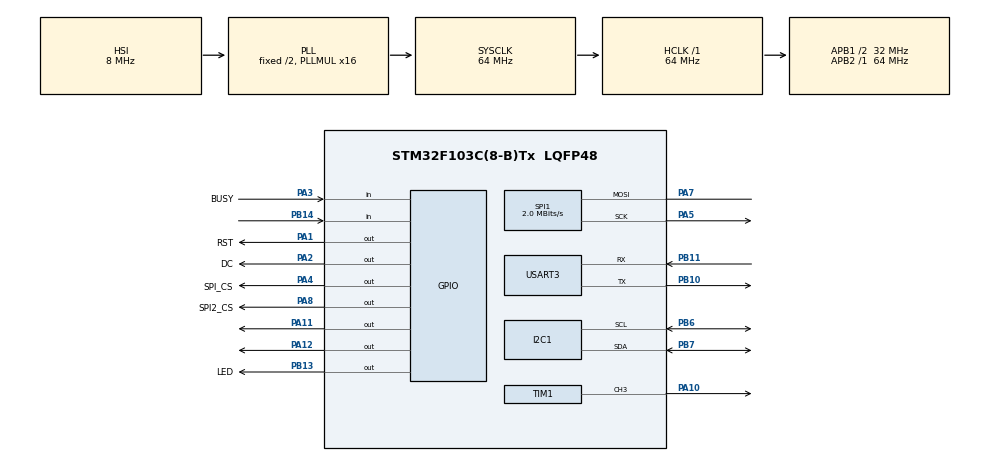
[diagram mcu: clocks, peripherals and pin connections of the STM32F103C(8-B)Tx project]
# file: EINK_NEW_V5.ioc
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Dma.Request0=SPI1_TX
Dma.SPI1_TX.0.Direction=DMA_MEMORY_TO_PERIPH
Dma.SPI1_TX.0.Instance=DMA1_Channel3
Dma.SPI1_TX.0.MemDataAlignment=DMA_MDATAALIGN_BYTE
Dma.SPI1_TX.0.MemInc=DMA_MINC_ENABLE
Dma.SPI1_TX.0.Mode=DMA_NORMAL
Dma.SPI1_TX.0.PeriphDataAlignment=DMA_PDATAALIGN_BYTE
Dma.SPI1_TX.0.PeriphInc=DMA_PINC_DISABLE
Dma.SPI1_TX.0.Priority=DMA_PRIORITY_LOW
Mcu.Family=STM32F1
Mcu.Name=STM32F103C(8-B)Tx
Mcu.Package=LQFP48
NVIC.DMA1_Channel3_IRQn=true\:0\:0\:false\:false\:true\:false\:true\:true
NVIC.PriorityGroup=NVIC_PRIORITYGROUP_4
PA1.GPIO_Label=RST
PA1.Signal=GPIO_Output
PA10.Signal=S_TIM1_CH3
PA11.Signal=GPIO_Output
PA12.Signal=GPIO_Output
PA13.Mode=Serial_Wire
PA13.Signal=SYS_JTMS-SWDIO
PA14.Mode=Serial_Wire
PA14.Signal=SYS_JTCK-SWCLK
PA2.GPIO_Label=DC
PA2.Signal=GPIO_Output
PA3.GPIO_Label=BUSY
PA3.Signal=GPIO_Input
PA4.GPIO_Label=SPI_CS
PA4.Signal=GPIO_Output
PA5.Mode=Simplex_Bidirectional_Master
PA5.Signal=SPI1_SCK
PA7.Mode=Simplex_Bidirectional_Master
PA7.Signal=SPI1_MOSI
PA8.GPIO_Label=SPI2_CS
PA8.Signal=GPIO_Output
PB10.Mode=Asynchronous
PB10.Signal=USART3_TX
PB11.Mode=Asynchronous
PB11.Signal=USART3_RX
PB13.GPIO_Label=LED
PB13.GPIO_PuPd=GPIO_PULLDOWN
PB13.PinState=GPIO_PIN_SET
PB13.Signal=GPIO_Output
PB14.GPIO_PuPd=GPIO_PULLDOWN
PB14.Signal=GPIO_Input
PB6.Mode=I2C
PB6.Signal=I2C1_SCL
PB7.Mode=I2C
PB7.Signal=I2C1_SDA
ProjectManager.HeapSize=0x200
ProjectManager.StackSize=0x400
ProjectManager.TargetToolchain=STM32CubeIDE
RCC.AHBFreq_Value=64000000
RCC.APB1CLKDivider=RCC_HCLK_DIV2
RCC.APB1Freq_Value=32000000
RCC.APB1TimFreq_Value=64000000
RCC.APB2Freq_Value=64000000
RCC.APB2TimFreq_Value=64000000
RCC.HCLKFreq_Value=64000000
RCC.PLLMUL=RCC_PLL_MUL16
RCC.SYSCLKFreq_VALUE=64000000
RCC.SYSCLKSource=RCC_SYSCLKSOURCE_PLLCLK
RCC.USBFreq_Value=64000000
SH.S_TIM1_CH3.0=TIM1_CH3,PWM Generation3 CH3
SPI1.BaudRatePrescaler=SPI_BAUDRATEPRESCALER_32
SPI1.CalculateBaudRate=2.0 MBits/s
SPI1.Direction=SPI_DIRECTION_1LINE
SPI1.Mode=SPI_MODE_MASTER
SPI1.VirtualType=VM_MASTER
TIM1.Channel-PWM\ Generation3\ CH3=TIM_CHANNEL_3
TIM1.Period=1000
USART3.VirtualMode=VM_ASYNC
VP_TIM1_VS_ClockSourceINT.Mode=Internal
board=custom

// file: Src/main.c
/* USER CODE BEGIN Header */
/**
  ******************************************************************************
  * @file           : main.c
  * @brief          : Main program body
  ******************************************************************************
  * @attention
  *
  * Copyright (c) 2025 STMicroelectronics.
  * All rights reserved.
  *
  * This software is licensed under terms that can be found in the LICENSE file
  * in the root directory of this software component.
  * If no LICENSE file comes with this software, it is provided AS-IS.
  *
  ******************************************************************************
  */
/* USER CODE END Header */
#include "main.h"

I2C_HandleTypeDef hi2c1;

SPI_HandleTypeDef hspi1;
DMA_HandleTypeDef hdma_spi1_tx;

TIM_HandleTypeDef htim1;

UART_HandleTypeDef huart3;

/* USER CODE BEGIN PV */
uint8_t turn_of_flag = 0;
/* USER CODE END PV */

void SystemClock_Config(void);
static void MX_GPIO_Init(void);
static void MX_DMA_Init(void);
static void MX_I2C1_Init(void);
static void MX_SPI1_Init(void);
static void MX_TIM1_Init(void);
static void MX_USART3_UART_Init(void);

/* USER CODE BEGIN 0 */
int _write(int file, char *ptr, int len) {
	(void) file;
	int DataIdx;

	for (DataIdx = 0; DataIdx < len; DataIdx++) {
		ITM_SendChar(*ptr++);
	}
	return len;
}

uint8_t image_bw[EPD_W_BUFF_SIZE * EPD_H];
uint8_t text[25];
/* USER CODE END 0 */
uint32_t altitude = 0;
int16_t climb = 0;
uint32_t cycle_time = 0;
uint32_t time_old = 0;
uint8_t baro_id = 0;
volatile uint32_t systick_counter;
void (*callback_baro)(void) = NULL;
uint8_t baro_init_ok = 0;

#define BARO_INIT_RETRIES      5U
#define BARO_INIT_DELAY_MS     50U
#define BARO_SANITY_ALT_CM     500000.0f
#define UI_REFRESH_PERIOD_MS   60U
void init_baro_callback(void (*func)(void)) {
    callback_baro = func;
}

void baro_poll_callback(void) {
	if (HAL_GetTick() > 1000U){
		climb_calc(&altitude, &climb);
	}
}

static uint8_t baro_try_init(void)
{
	for (uint8_t i = 0; i < BARO_INIT_RETRIES; i++) {
		if (spl06_Init() == OK &&
			spl06_SetOSR(SAMPLING_X1, SAMPLING_X1) == OK &&
			spl06_SetMode(MODE_BACKGND_BOTH) == OK &&
			spl06_ID_read() == 16) {
			return 1;
		}
		HAL_Delay(BARO_INIT_DELAY_MS);
	}
	return 0;
}
int main(void)
{

  /* MCU Configuration--------------------------------------------------------*/

  /* Reset of all peripherals, Initializes the Flash interface and the Systick. */
  HAL_Init();

  /* USER CODE BEGIN Init */
  HAL_GPIO_WritePin(GPIOB, GPIO_PIN_13, 1);

  /* USER CODE END Init */
  HAL_Delay(50);
  /* Configure the system clock */
  SystemClock_Config();

  /* Initialize all configured peripherals */
  MX_GPIO_Init();
  MX_DMA_Init();
  MX_I2C1_Init();
  MX_SPI1_Init();
  MX_TIM1_Init();
  MX_USART3_UART_Init();
  baro_init_ok = baro_try_init();
  filter_init();
  /* USER CODE BEGIN 2 */

  	epd_init();
  	epd_paint_newimage(image_bw, EPD_W, EPD_H, EPD_ROTATE_180, EPD_COLOR_WHITE);
  	epd_paint_selectimage(image_bw);
  	epd_paint_clear(EPD_COLOR_WHITE);
  	epd_update();
  	baro_id = spl06_ID_read();

  	HAL_Delay(10);
  	HAL_GPIO_WritePin(GPIOB, GPIO_PIN_13, 1);

  	init_baro_callback(baro_poll_callback);

  	if(!baro_init_ok || pascalToCentimeter(spl06_ReadPressure()) > BARO_SANITY_ALT_CM){
  		epd_paint_showString(10, 85, "BAD PRES", 25, EPD_COLOR_BLACK);
  		epd_paint_showString(10, 120, "TRY AGN", 25, EPD_COLOR_BLACK);
  		epd_displayBW_partial(image_bw);
  		baro_init_ok = baro_try_init();
  	  	HAL_Delay(800);
  	}

	epd_init_partial();
	if (baro_id == 16){
		epd_paint_showString(10, 85, "BARO ID OK", 25, EPD_COLOR_BLACK);
	}
	else{
		epd_paint_showString(10, 85, "WRONG ID", 25, EPD_COLOR_BLACK);
		sprintf((char*)text,"%d",baro_id);
		epd_paint_showString(150, 85, text, 25, EPD_COLOR_BLACK);
	}
	epd_displayBW_partial(image_bw);
	HAL_Delay(2000);
	epd_paint_clear(EPD_COLOR_WHITE);
	display_fields(image_bw);
	HAL_GPIO_WritePin(GPIOA, GPIO_PIN_11, 1);
	HAL_GPIO_WritePin(GPIOA, GPIO_PIN_12, 1);

	HAL_Delay(150);
	epd_paint_clear(EPD_COLOR_WHITE);
  /* USER CODE END 2 */

  /* Infinite loop */
  /* USER CODE BEGIN WHILE */
	  while (1)
	  {

		  cycle_time = HAL_GetTick()-time_old;
		  if (cycle_time > UI_REFRESH_PERIOD_MS){
		  display_inform(altitude/100, climb/10, text, image_bw);
		  Buzzer_inform(10);
		  time_old = HAL_GetTick();
		  Check_Long_Press(image_bw);
		  }
	  }
	  /* USER CODE END 3 */
	}

void SystemClock_Config(void)
{
  RCC_OscInitTypeDef RCC_OscInitStruct = {0};
  RCC_ClkInitTypeDef RCC_ClkInitStruct = {0};

  /** Initializes the RCC Oscillators according to the specified parameters
  * in the RCC_OscInitTypeDef structure.
  */
  RCC_OscInitStruct.OscillatorType = RCC_OSCILLATORTYPE_HSI;
  RCC_OscInitStruct.HSIState = RCC_HSI_ON;
  RCC_OscInitStruct.HSICalibrationValue = RCC_HSICALIBRATION_DEFAULT;
  RCC_OscInitStruct.PLL.PLLState = RCC_PLL_ON;
  RCC_OscInitStruct.PLL.PLLSource = RCC_PLLSOURCE_HSI_DIV2;
  RCC_OscInitStruct.PLL.PLLMUL = RCC_PLL_MUL16;
  if (HAL_RCC_OscConfig(&RCC_OscInitStruct) != HAL_OK)
  {
    Error_Handler();
  }

  /** Initializes the CPU, AHB and APB buses clocks
  */
  RCC_ClkInitStruct.ClockType = RCC_CLOCKTYPE_HCLK|RCC_CLOCKTYPE_SYSCLK
                              |RCC_CLOCKTYPE_PCLK1|RCC_CLOCKTYPE_PCLK2;
  RCC_ClkInitStruct.SYSCLKSource = RCC_SYSCLKSOURCE_PLLCLK;
  RCC_ClkInitStruct.AHBCLKDivider = RCC_SYSCLK_DIV1;
  RCC_ClkInitStruct.APB1CLKDivider = RCC_HCLK_DIV2;
  RCC_ClkInitStruct.APB2CLKDivider = RCC_HCLK_DIV1;

  if (HAL_RCC_ClockConfig(&RCC_ClkInitStruct, FLASH_LATENCY_2) != HAL_OK)
  {
    Error_Handler();
  }
}

static void MX_I2C1_Init(void)
{

  hi2c1.Instance = I2C1;
  hi2c1.Init.ClockSpeed = 100000;
  hi2c1.Init.DutyCycle = I2C_DUTYCYCLE_2;
  hi2c1.Init.OwnAddress1 = 0;
  hi2c1.Init.AddressingMode = I2C_ADDRESSINGMODE_7BIT;
  hi2c1.Init.DualAddressMode = I2C_DUALADDRESS_DISABLE;
  hi2c1.Init.OwnAddress2 = 0;
  hi2c1.Init.GeneralCallMode = I2C_GENERALCALL_DISABLE;
  hi2c1.Init.NoStretchMode = I2C_NOSTRETCH_DISABLE;
  if (HAL_I2C_Init(&hi2c1) != HAL_OK)
  {
    Error_Handler();
  }

}

static void MX_SPI1_Init(void)
{

  /* SPI1 parameter configuration*/
  hspi1.Instance = SPI1;
  hspi1.Init.Mode = SPI_MODE_MASTER;
  hspi1.Init.Direction = SPI_DIRECTION_1LINE;
  hspi1.Init.DataSize = SPI_DATASIZE_8BIT;
  hspi1.Init.CLKPolarity = SPI_POLARITY_LOW;
  hspi1.Init.CLKPhase = SPI_PHASE_1EDGE;
  hspi1.Init.NSS = SPI_NSS_SOFT;
  hspi1.Init.BaudRatePrescaler = SPI_BAUDRATEPRESCALER_32;
  hspi1.Init.FirstBit = SPI_FIRSTBIT_MSB;
  hspi1.Init.TIMode = SPI_TIMODE_DISABLE;
  hspi1.Init.CRCCalculation = SPI_CRCCALCULATION_DISABLE;
  hspi1.Init.CRCPolynomial = 10;
  if (HAL_SPI_Init(&hspi1) != HAL_OK)
  {
    Error_Handler();
  }

}

static void MX_TIM1_Init(void)
{

  TIM_ClockConfigTypeDef sClockSourceConfig = {0};
  TIM_MasterConfigTypeDef sMasterConfig = {0};
  TIM_OC_InitTypeDef sConfigOC = {0};
  TIM_BreakDeadTimeConfigTypeDef sBreakDeadTimeConfig = {0};

  htim1.Instance = TIM1;
  htim1.Init.Prescaler = 0;
  htim1.Init.CounterMode = TIM_COUNTERMODE_UP;
  htim1.Init.Period = 1000;
  htim1.Init.ClockDivision = TIM_CLOCKDIVISION_DIV1;
  htim1.Init.RepetitionCounter = 0;
  htim1.Init.AutoReloadPreload = TIM_AUTORELOAD_PRELOAD_DISABLE;
  if (HAL_TIM_Base_Init(&htim1) != HAL_OK)
  {
    Error_Handler();
  }
  sClockSourceConfig.ClockSource = TIM_CLOCKSOURCE_INTERNAL;
  if (HAL_TIM_ConfigClockSource(&htim1, &sClockSourceConfig) != HAL_OK)
  {
    Error_Handler();
  }
  if (HAL_TIM_PWM_Init(&htim1) != HAL_OK)
  {
    Error_Handler();
  }
  sMasterConfig.MasterOutputTrigger = TIM_TRGO_RESET;
  sMasterConfig.MasterSlaveMode = TIM_MASTERSLAVEMODE_DISABLE;
  if (HAL_TIMEx_MasterConfigSynchronization(&htim1, &sMasterConfig) != HAL_OK)
  {
    Error_Handler();
  }
  sConfigOC.OCMode = TIM_OCMODE_PWM1;
  sConfigOC.Pulse = 0;
  sConfigOC.OCPolarity = TIM_OCPOLARITY_HIGH;
  sConfigOC.OCNPolarity = TIM_OCNPOLARITY_HIGH;
  sConfigOC.OCFastMode = TIM_OCFAST_DISABLE;
  sConfigOC.OCIdleState = TIM_OCIDLESTATE_RESET;
  sConfigOC.OCNIdleState = TIM_OCNIDLESTATE_RESET;
  if (HAL_TIM_PWM_ConfigChannel(&htim1, &sConfigOC, TIM_CHANNEL_3) != HAL_OK)
  {
    Error_Handler();
  }
  sBreakDeadTimeConfig.OffStateRunMode = TIM_OSSR_DISABLE;
  sBreakDeadTimeConfig.OffStateIDLEMode = TIM_OSSI_DISABLE;
  sBreakDeadTimeConfig.LockLevel = TIM_LOCKLEVEL_OFF;
  sBreakDeadTimeConfig.DeadTime = 0;
  sBreakDeadTimeConfig.BreakState = TIM_BREAK_DISABLE;
  sBreakDeadTimeConfig.BreakPolarity = TIM_BREAKPOLARITY_HIGH;
  sBreakDeadTimeConfig.AutomaticOutput = TIM_AUTOMATICOUTPUT_DISABLE;
  if (HAL_TIMEx_ConfigBreakDeadTime(&htim1, &sBreakDeadTimeConfig) != HAL_OK)
  {
    Error_Handler();
  }
  HAL_TIM_MspPostInit(&htim1);

}

static void MX_USART3_UART_Init(void)
{

  huart3.Instance = USART3;
  huart3.Init.BaudRate = 115200;
  huart3.Init.WordLength = UART_WORDLENGTH_8B;
  huart3.Init.StopBits = UART_STOPBITS_1;
  huart3.Init.Parity = UART_PARITY_NONE;
  huart3.Init.Mode = UART_MODE_TX_RX;
  huart3.Init.HwFlowCtl = UART_HWCONTROL_NONE;
  huart3.Init.OverSampling = UART_OVERSAMPLING_16;
  if (HAL_UART_Init(&huart3) != HAL_OK)
  {
    Error_Handler();
  }

}

static void MX_DMA_Init(void)
{

  /* DMA controller clock enable */
  __HAL_RCC_DMA1_CLK_ENABLE();

  /* DMA interrupt init */
  /* DMA1_Channel3_IRQn interrupt configuration */
  HAL_NVIC_SetPriority(DMA1_Channel3_IRQn, 0, 0);
  HAL_NVIC_EnableIRQ(DMA1_Channel3_IRQn);

}

static void MX_GPIO_Init(void)
{
  GPIO_InitTypeDef GPIO_InitStruct = {0};

  /* GPIO Ports Clock Enable */
  __HAL_RCC_GPIOA_CLK_ENABLE();
  __HAL_RCC_GPIOB_CLK_ENABLE();

  /*Configure GPIO pin Output Level */
  HAL_GPIO_WritePin(GPIOA, RST_Pin|DC_Pin|SPI_CS_Pin|SPI2_CS_Pin
                          |GPIO_PIN_11|GPIO_PIN_12, GPIO_PIN_RESET);

  /*Configure GPIO pin Output Level */
  HAL_GPIO_WritePin(LED_GPIO_Port, LED_Pin, GPIO_PIN_SET);

  /*Configure GPIO pins : RST_Pin DC_Pin SPI_CS_Pin SPI2_CS_Pin
                           PA11 PA12 */
  GPIO_InitStruct.Pin = RST_Pin|DC_Pin|SPI_CS_Pin|SPI2_CS_Pin
                          |GPIO_PIN_11|GPIO_PIN_12;
  GPIO_InitStruct.Mode = GPIO_MODE_OUTPUT_PP;
  GPIO_InitStruct.Pull = GPIO_NOPULL;
  GPIO_InitStruct.Speed = GPIO_SPEED_FREQ_LOW;
  HAL_GPIO_Init(GPIOA, &GPIO_InitStruct);

  /*Configure GPIO pin : BUSY_Pin */
  GPIO_InitStruct.Pin = BUSY_Pin;
  GPIO_InitStruct.Mode = GPIO_MODE_INPUT;
  GPIO_InitStruct.Pull = GPIO_NOPULL;
  HAL_GPIO_Init(BUSY_GPIO_Port, &GPIO_InitStruct);

  /*Configure GPIO pin : LED_Pin */
  GPIO_InitStruct.Pin = LED_Pin;
  GPIO_InitStruct.Mode = GPIO_MODE_OUTPUT_PP;
  GPIO_InitStruct.Pull = GPIO_PULLDOWN;
  GPIO_InitStruct.Speed = GPIO_SPEED_FREQ_LOW;
  HAL_GPIO_Init(LED_GPIO_Port, &GPIO_InitStruct);

  /*Configure GPIO pin : PB14 */
  GPIO_InitStruct.Pin = GPIO_PIN_14;
  GPIO_InitStruct.Mode = GPIO_MODE_INPUT;
  GPIO_InitStruct.Pull = GPIO_PULLDOWN;
  HAL_GPIO_Init(GPIOB, &GPIO_InitStruct);

}

/* USER CODE BEGIN 4 */
void HAL_GPIO_EXTI_Callback (uint16_t GPIO_Pin){
	if (turn_of_flag == 0){

		HAL_GPIO_WritePin(GPIOB, GPIO_PIN_13, 1);
		turn_of_flag = 1;

	}
}
/* USER CODE END 4 */

void Error_Handler(void)
{
  __disable_irq();
  while (1)
  {
  }
}
